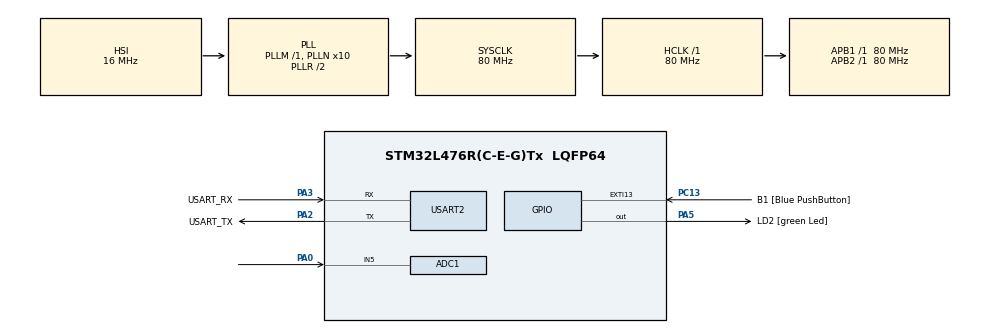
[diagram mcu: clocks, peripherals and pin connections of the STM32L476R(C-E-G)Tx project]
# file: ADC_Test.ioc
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ADC1.Channel-0\#ChannelRegularConversion=ADC_CHANNEL_5
ADC1.NbrOfConversionFlag=1
ADC1.OffsetNumber-0\#ChannelRegularConversion=ADC_OFFSET_NONE
ADC1.Rank-0\#ChannelRegularConversion=1
ADC1.SamplingTime-0\#ChannelRegularConversion=ADC_SAMPLETIME_2CYCLES_5
ADC1.master=1
Mcu.Family=STM32L4
Mcu.Name=STM32L476R(C-E-G)Tx
Mcu.Package=LQFP64
NVIC.PriorityGroup=NVIC_PRIORITYGROUP_4
PA0.Signal=ADCx_IN5
PA13\ (JTMS-SWDIO).GPIO_Label=TMS
PA13\ (JTMS-SWDIO).Mode=Serial_Wire
PA13\ (JTMS-SWDIO).Signal=SYS_JTMS-SWDIO
PA14\ (JTCK-SWCLK).GPIO_Label=TCK
PA14\ (JTCK-SWCLK).Mode=Serial_Wire
PA14\ (JTCK-SWCLK).Signal=SYS_JTCK-SWCLK
PA2.GPIO_Label=USART_TX
PA2.GPIO_Mode=GPIO_MODE_AF_PP
PA2.GPIO_PuPd=GPIO_NOPULL
PA2.GPIO_Speed=GPIO_SPEED_FREQ_VERY_HIGH
PA2.Mode=Asynchronous
PA2.Signal=USART2_TX
PA3.GPIO_Label=USART_RX
PA3.GPIO_Mode=GPIO_MODE_AF_PP
PA3.GPIO_PuPd=GPIO_NOPULL
PA3.GPIO_Speed=GPIO_SPEED_FREQ_VERY_HIGH
PA3.Mode=Asynchronous
PA3.Signal=USART2_RX
PA5.GPIO_Label=LD2 [green Led]
PA5.GPIO_ModeDefaultOutputPP=GPIO_MODE_OUTPUT_PP
PA5.GPIO_PuPd=GPIO_NOPULL
PA5.GPIO_Speed=GPIO_SPEED_FREQ_LOW
PA5.Signal=GPIO_Output
PB3\ (JTDO-TRACESWO).GPIO_Label=SWO
PB3\ (JTDO-TRACESWO).Signal=SYS_JTDO-SWO
PC13.GPIO_Label=B1 [Blue PushButton]
PC13.GPIO_ModeDefaultEXTI=GPIO_MODE_IT_FALLING
PC13.GPIO_PuPd=GPIO_NOPULL
PC13.Signal=GPXTI13
PC14-OSC32_IN\ (PC14).Mode=LSE-External-Oscillator
PC14-OSC32_IN\ (PC14).Signal=RCC_OSC32_IN
PC15-OSC32_OUT\ (PC15).Mode=LSE-External-Oscillator
PC15-OSC32_OUT\ (PC15).Signal=RCC_OSC32_OUT
PH0-OSC_IN\ (PH0).Signal=RCC_OSC_IN
PH1-OSC_OUT\ (PH1).Signal=RCC_OSC_OUT
ProjectManager.HeapSize=0x200
ProjectManager.StackSize=0x400
ProjectManager.TargetToolchain=STM32CubeIDE
RCC.ADCFreq_Value=64000000
RCC.AHBFreq_Value=80000000
RCC.APB1Freq_Value=80000000
RCC.APB1TimFreq_Value=80000000
RCC.APB2Freq_Value=80000000
RCC.APB2TimFreq_Value=80000000
RCC.CortexFreq_Value=80000000
RCC.HCLKFreq_Value=80000000
RCC.HSE_VALUE=8000000
RCC.HSI_VALUE=16000000
RCC.MSI_VALUE=4000000
RCC.PLLN=10
RCC.PLLSourceVirtual=RCC_PLLSOURCE_HSI
RCC.PREFETCH_ENABLE=1
RCC.SYSCLKFreq_VALUE=80000000
RCC.SYSCLKSource=RCC_SYSCLKSOURCE_PLLCLK
RCC.USBFreq_Value=64000000
RCC.VCOOutputFreq_Value=160000000
SH.ADCx_IN5.0=ADC1_IN5,IN5-Single-Ended
USART2.VirtualMode-Asynchronous=VM_ASYNC
board=NUCLEO-L476RG

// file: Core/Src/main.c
/* USER CODE BEGIN Header */
/**
  ******************************************************************************
  * @file           : main.c
  * @brief          : Main program body
  ******************************************************************************
  * @attention
  *
  * Copyright (c) 2022 STMicroelectronics.
  * All rights reserved.
  *
  * This software is licensed under terms that can be found in the LICENSE file
  * in the root directory of this software component.
  * If no LICENSE file comes with this software, it is provided AS-IS.
  *
  ******************************************************************************
  */
/* USER CODE END Header */
#include "main.h"

ADC_HandleTypeDef hadc1;

UART_HandleTypeDef huart2;

/* USER CODE BEGIN PV */
#include<stdio.h>

/* USER CODE END PV */

void SystemClock_Config(void);
static void MX_GPIO_Init(void);
static void MX_USART2_UART_Init(void);
static void MX_ADC1_Init(void);

int main(void)
{

  /* MCU Configuration--------------------------------------------------------*/

  /* Reset of all peripherals, Initializes the Flash interface and the Systick. */
  HAL_Init();

  /* Configure the system clock */
  SystemClock_Config();

  /* Initialize all configured peripherals */
  MX_GPIO_Init();
  MX_USART2_UART_Init();
  MX_ADC1_Init();

  /* USER CODE BEGIN 2 */
  char msg[20] = " ";
  char moyenne[20]=" ";
  double val = 0.0;
  double moy =0.0;
  double sum =0.0;
  int inc=1;
  HAL_UART_Transmit(&huart2,(uint8_t*) "Init", 20, 50);
  HAL_Delay(500);
  /* USER CODE END 2 */

  /* Infinite loop */
  /* USER CODE BEGIN WHILE */
  while (1)
  {
	  //if( HAL_UART_Transmit(&huart2,"coucou", 7, 50)!=HAL_OK)
		// Error_Handler();
	  HAL_ADC_Start(&hadc1);
	  HAL_ADC_PollForConversion(&hadc1, 5);
	  val = (float) HAL_ADC_GetValue(&hadc1);
	  sum = sum+val;
	  moy = sum/ inc;

	  sprintf(msg,"%f\r\n ",val);
	  HAL_UART_Transmit(&huart2, (uint8_t*) msg, 20, 50);
	  HAL_Delay(500);
	  if (inc==30) {
		  sprintf(moyenne,"%f\r\n ",moy);
		  HAL_UART_Transmit(&huart2, (uint8_t*) moyenne, 20, 50);
		  HAL_Delay(5000);
		  inc=0;
		  sum=0.0;
		  moy=0.0;

	  }
	  inc++;
    /* USER CODE END WHILE */

  }
}

void SystemClock_Config(void)
{
  RCC_OscInitTypeDef RCC_OscInitStruct = {0};
  RCC_ClkInitTypeDef RCC_ClkInitStruct = {0};

  /** Configure the main internal regulator output voltage
  */
  if (HAL_PWREx_ControlVoltageScaling(PWR_REGULATOR_VOLTAGE_SCALE1) != HAL_OK)
  {
    Error_Handler();
  }
  /** Initializes the RCC Oscillators according to the specified parameters
  * in the RCC_OscInitTypeDef structure.
  */
  RCC_OscInitStruct.OscillatorType = RCC_OSCILLATORTYPE_HSI;
  RCC_OscInitStruct.HSIState = RCC_HSI_ON;
  RCC_OscInitStruct.HSICalibrationValue = RCC_HSICALIBRATION_DEFAULT;
  RCC_OscInitStruct.PLL.PLLState = RCC_PLL_ON;
  RCC_OscInitStruct.PLL.PLLSource = RCC_PLLSOURCE_HSI;
  RCC_OscInitStruct.PLL.PLLM = 1;
  RCC_OscInitStruct.PLL.PLLN = 10;
  RCC_OscInitStruct.PLL.PLLP = RCC_PLLP_DIV7;
  RCC_OscInitStruct.PLL.PLLQ = RCC_PLLQ_DIV2;
  RCC_OscInitStruct.PLL.PLLR = RCC_PLLR_DIV2;
  if (HAL_RCC_OscConfig(&RCC_OscInitStruct) != HAL_OK)
  {
    Error_Handler();
  }
  /** Initializes the CPU, AHB and APB buses clocks
  */
  RCC_ClkInitStruct.ClockType = RCC_CLOCKTYPE_HCLK|RCC_CLOCKTYPE_SYSCLK
                              |RCC_CLOCKTYPE_PCLK1|RCC_CLOCKTYPE_PCLK2;
  RCC_ClkInitStruct.SYSCLKSource = RCC_SYSCLKSOURCE_PLLCLK;
  RCC_ClkInitStruct.AHBCLKDivider = RCC_SYSCLK_DIV1;
  RCC_ClkInitStruct.APB1CLKDivider = RCC_HCLK_DIV1;
  RCC_ClkInitStruct.APB2CLKDivider = RCC_HCLK_DIV1;

  if (HAL_RCC_ClockConfig(&RCC_ClkInitStruct, FLASH_LATENCY_4) != HAL_OK)
  {
    Error_Handler();
  }
}

static void MX_ADC1_Init(void)
{

  ADC_MultiModeTypeDef multimode = {0};
  ADC_ChannelConfTypeDef sConfig = {0};

  /** Common config
  */
  hadc1.Instance = ADC1;
  hadc1.Init.ClockPrescaler = ADC_CLOCK_ASYNC_DIV1;
  hadc1.Init.Resolution = ADC_RESOLUTION_12B;
  hadc1.Init.DataAlign = ADC_DATAALIGN_RIGHT;
  hadc1.Init.ScanConvMode = ADC_SCAN_DISABLE;
  hadc1.Init.EOCSelection = ADC_EOC_SINGLE_CONV;
  hadc1.Init.LowPowerAutoWait = DISABLE;
  hadc1.Init.ContinuousConvMode = DISABLE;
  hadc1.Init.NbrOfConversion = 1;
  hadc1.Init.DiscontinuousConvMode = DISABLE;
  hadc1.Init.ExternalTrigConv = ADC_SOFTWARE_START;
  hadc1.Init.ExternalTrigConvEdge = ADC_EXTERNALTRIGCONVEDGE_NONE;
  hadc1.Init.DMAContinuousRequests = DISABLE;
  hadc1.Init.Overrun = ADC_OVR_DATA_PRESERVED;
  hadc1.Init.OversamplingMode = DISABLE;
  if (HAL_ADC_Init(&hadc1) != HAL_OK)
  {
    Error_Handler();
  }
  /** Configure the ADC multi-mode
  */
  multimode.Mode = ADC_MODE_INDEPENDENT;
  if (HAL_ADCEx_MultiModeConfigChannel(&hadc1, &multimode) != HAL_OK)
  {
    Error_Handler();
  }
  /** Configure Regular Channel
  */
  sConfig.Channel = ADC_CHANNEL_5;
  sConfig.Rank = ADC_REGULAR_RANK_1;
  sConfig.SamplingTime = ADC_SAMPLETIME_2CYCLES_5;
  sConfig.SingleDiff = ADC_SINGLE_ENDED;
  sConfig.OffsetNumber = ADC_OFFSET_NONE;
  sConfig.Offset = 0;
  if (HAL_ADC_ConfigChannel(&hadc1, &sConfig) != HAL_OK)
  {
    Error_Handler();
  }

}

static void MX_USART2_UART_Init(void)
{

  huart2.Instance = USART2;
  huart2.Init.BaudRate = 115200;
  huart2.Init.WordLength = UART_WORDLENGTH_8B;
  huart2.Init.StopBits = UART_STOPBITS_1;
  huart2.Init.Parity = UART_PARITY_NONE;
  huart2.Init.Mode = UART_MODE_TX_RX;
  huart2.Init.HwFlowCtl = UART_HWCONTROL_NONE;
  huart2.Init.OverSampling = UART_OVERSAMPLING_16;
  huart2.Init.OneBitSampling = UART_ONE_BIT_SAMPLE_DISABLE;
  huart2.AdvancedInit.AdvFeatureInit = UART_ADVFEATURE_NO_INIT;
  if (HAL_UART_Init(&huart2) != HAL_OK)
  {
    Error_Handler();
  }

}

static void MX_GPIO_Init(void)
{
  GPIO_InitTypeDef GPIO_InitStruct = {0};

  /* GPIO Ports Clock Enable */
  __HAL_RCC_GPIOC_CLK_ENABLE();
  __HAL_RCC_GPIOH_CLK_ENABLE();
  __HAL_RCC_GPIOA_CLK_ENABLE();
  __HAL_RCC_GPIOB_CLK_ENABLE();

  /*Configure GPIO pin Output Level */
  HAL_GPIO_WritePin(LD2_GPIO_Port, LD2_Pin, GPIO_PIN_RESET);

  /*Configure GPIO pin : B1_Pin */
  GPIO_InitStruct.Pin = B1_Pin;
  GPIO_InitStruct.Mode = GPIO_MODE_IT_FALLING;
  GPIO_InitStruct.Pull = GPIO_NOPULL;
  HAL_GPIO_Init(B1_GPIO_Port, &GPIO_InitStruct);

  /*Configure GPIO pin : LD2_Pin */
  GPIO_InitStruct.Pin = LD2_Pin;
  GPIO_InitStruct.Mode = GPIO_MODE_OUTPUT_PP;
  GPIO_InitStruct.Pull = GPIO_NOPULL;
  GPIO_InitStruct.Speed = GPIO_SPEED_FREQ_LOW;
  HAL_GPIO_Init(LD2_GPIO_Port, &GPIO_InitStruct);

}

void Error_Handler(void)
{
  __disable_irq();
  while (1)
  {
  }
}
